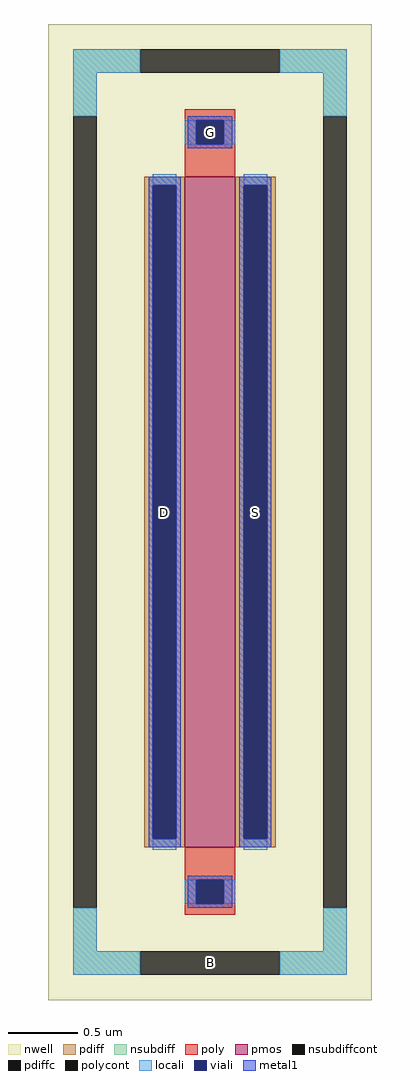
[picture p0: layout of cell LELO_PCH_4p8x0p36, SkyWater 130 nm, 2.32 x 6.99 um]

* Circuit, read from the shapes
.subckt LELO_PCH_4p8x0p36 D G S B
XM1 S G D B sky130_fd_pr__pfet_01v8 w=4.8 l=0.36
.ends

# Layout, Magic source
magic
tech sky130A
magscale 1 2
<< nwell >>
rect -232 -699 232 699
<< pmos >>
rect -36 -480 36 480
<< pdiff >>
rect -94 468 -36 480
rect -94 -468 -82 468
rect -48 -468 -36 468
rect -94 -480 -36 -468
rect 36 468 94 480
rect 36 -468 48 468
rect 82 -468 94 468
rect 36 -480 94 -468
<< pdiffc >>
rect -82 -468 -48 468
rect 48 -468 82 468
<< nsubdiff >>
rect -196 629 -100 663
rect 100 629 196 663
rect -196 567 -162 629
rect 162 567 196 629
rect -196 -629 -162 -567
rect 162 -629 196 -567
rect -196 -663 -100 -629
rect 100 -663 196 -629
<< nsubdiffcont >>
rect -100 629 100 663
rect -196 -567 -162 567
rect 162 -567 196 567
rect -100 -663 100 -629
<< poly >>
rect -36 561 36 577
rect -36 527 -20 561
rect 20 527 36 561
rect -36 480 36 527
rect -36 -527 36 -480
rect -36 -561 -20 -527
rect 20 -561 36 -527
rect -36 -577 36 -561
<< polycont >>
rect -20 527 20 561
rect -20 -561 20 -527
<< locali >>
rect -196 629 -100 663
rect 100 629 196 663
rect -196 567 -162 629
rect 162 567 196 629
rect -36 527 -20 561
rect 20 527 36 561
rect -82 468 -48 484
rect -82 -484 -48 -468
rect 48 468 82 484
rect 48 -484 82 -468
rect -36 -561 -20 -527
rect 20 -561 36 -527
rect -196 -629 -162 -567
rect 162 -629 196 -567
rect -196 -663 -100 -629
rect 100 -663 196 -629
<< viali >>
rect -20 527 20 561
rect -82 -468 -48 468
rect 48 -468 82 468
rect -20 -561 20 -527
<< metal1 >>
rect -32 561 32 567
rect -32 527 -20 561
rect 20 527 32 561
rect -32 521 32 527
rect -88 468 -42 480
rect -88 -468 -82 468
rect -48 -468 -42 468
rect -88 -480 -42 -468
rect 42 468 88 480
rect 42 -468 48 468
rect 82 -468 88 468
rect 42 -480 88 -468
rect -32 -527 32 -521
rect -32 -561 -20 -527
rect 20 -561 32 -527
rect -32 -567 32 -561
<< labels >>
flabel locali s -4 -650 4 -642 0 FreeSans 200 0 0 0 B
port 4 nsew
flabel metal1 s -69 -4 -61 4 0 FreeSans 200 0 0 0 D
port 1 nsew
flabel metal1 s 61 -4 69 4 0 FreeSans 200 0 0 0 S
port 3 nsew
flabel metal1 s -4 540 4 548 0 FreeSans 200 0 0 0 G
port 2 nsew
<< properties >>
string FIXED_BBOX -179 -646 179 646
<< end >>
